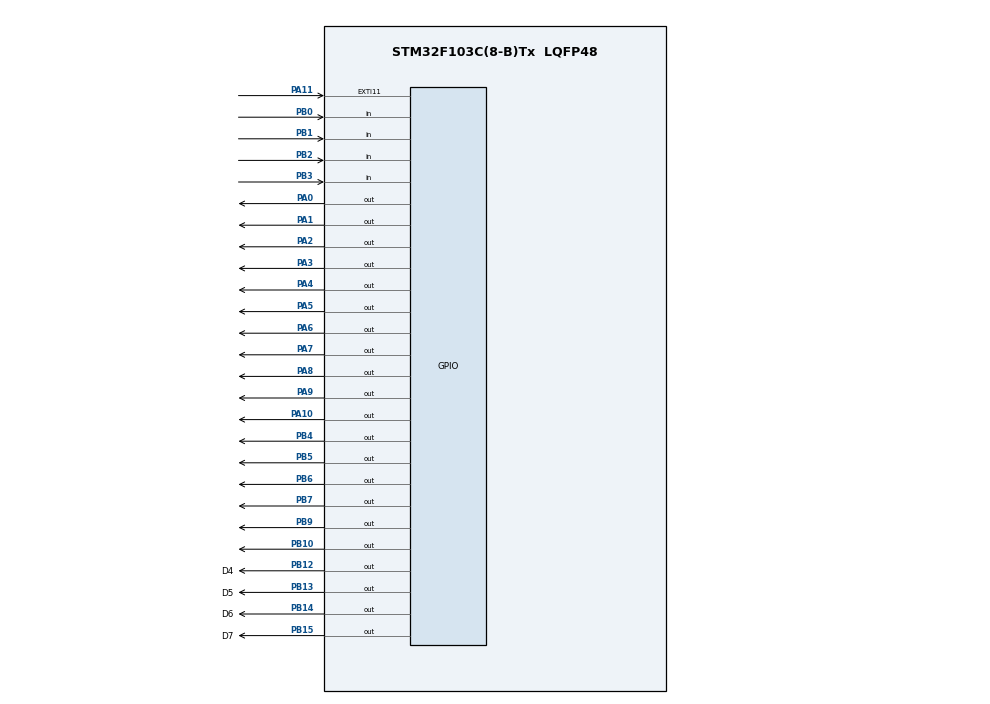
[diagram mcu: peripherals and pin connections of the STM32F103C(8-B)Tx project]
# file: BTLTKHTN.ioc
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Mcu.Family=STM32F1
Mcu.Name=STM32F103C(8-B)Tx
Mcu.Package=LQFP48
NVIC.EXTI15_10_IRQn=true\:0\:0\:false\:false\:true\:true\:true\:true
NVIC.PriorityGroup=NVIC_PRIORITYGROUP_4
PA0-WKUP.GPIO_Speed=GPIO_SPEED_FREQ_HIGH
PA0-WKUP.Signal=GPIO_Output
PA1.GPIO_Speed=GPIO_SPEED_FREQ_HIGH
PA1.Signal=GPIO_Output
PA10.GPIO_Speed=GPIO_SPEED_FREQ_LOW
PA10.Signal=GPIO_Output
PA11.GPIO_ModeDefaultEXTI=GPIO_MODE_IT_FALLING
PA11.GPIO_PuPd=GPIO_PULLUP
PA11.Signal=GPXTI11
PA13.Mode=Serial_Wire
PA13.Signal=SYS_JTMS-SWDIO
PA14.Mode=Serial_Wire
PA14.Signal=SYS_JTCK-SWCLK
PA2.GPIO_Speed=GPIO_SPEED_FREQ_HIGH
PA2.Signal=GPIO_Output
PA3.GPIO_Speed=GPIO_SPEED_FREQ_HIGH
PA3.Signal=GPIO_Output
PA4.GPIO_Speed=GPIO_SPEED_FREQ_HIGH
PA4.Signal=GPIO_Output
PA5.GPIO_Speed=GPIO_SPEED_FREQ_HIGH
PA5.Signal=GPIO_Output
PA6.GPIO_Speed=GPIO_SPEED_FREQ_HIGH
PA6.Signal=GPIO_Output
PA7.GPIO_Speed=GPIO_SPEED_FREQ_HIGH
PA7.Signal=GPIO_Output
PA8.GPIO_Speed=GPIO_SPEED_FREQ_HIGH
PA8.Signal=GPIO_Output
PA9.GPIO_Speed=GPIO_SPEED_FREQ_HIGH
PA9.Signal=GPIO_Output
PB0.GPIO_PuPd=GPIO_PULLUP
PB0.Signal=GPIO_Input
PB1.GPIO_PuPd=GPIO_PULLUP
PB1.Signal=GPIO_Input
PB10.GPIO_Speed=GPIO_SPEED_FREQ_LOW
PB10.Signal=GPIO_Output
PB12.GPIO_Label=D4
PB12.Signal=GPIO_Output
PB13.GPIO_Label=D5
PB13.Signal=GPIO_Output
PB14.GPIO_Label=D6
PB14.Signal=GPIO_Output
PB15.GPIO_Label=D7
PB15.Signal=GPIO_Output
PB2.GPIO_PuPd=GPIO_PULLUP
PB2.Signal=GPIO_Input
PB3.GPIO_PuPd=GPIO_PULLUP
PB3.Signal=GPIO_Input
PB4.GPIO_Speed=GPIO_SPEED_FREQ_LOW
PB4.Signal=GPIO_Output
PB5.GPIO_Speed=GPIO_SPEED_FREQ_LOW
PB5.Signal=GPIO_Output
PB6.GPIO_Speed=GPIO_SPEED_FREQ_LOW
PB6.Signal=GPIO_Output
PB7.GPIO_Speed=GPIO_SPEED_FREQ_LOW
PB7.Signal=GPIO_Output
PB9.GPIO_Speed=GPIO_SPEED_FREQ_LOW
PB9.Signal=GPIO_Output
ProjectManager.HeapSize=0x200
ProjectManager.StackSize=0x400
ProjectManager.TargetToolchain=MDK-ARM V5.32
RCC.APB1Freq_Value=8000000
RCC.APB2Freq_Value=8000000
board=custom

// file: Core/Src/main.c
/* USER CODE BEGIN Header */
/**
  ******************************************************************************
  * @file           : main.c
  * @brief          : Main program body
  ******************************************************************************
  * @attention
  *
  * Copyright (c) 2023 STMicroelectronics.
  * All rights reserved.
  *
  * This software is licensed under terms that can be found in the LICENSE file
  * in the root directory of this software component.
  * If no LICENSE file comes with this software, it is provided AS-IS.
  *
  ******************************************************************************
  */
/* USER CODE END Header */
#include "main.h"
#include "KEY4x4.h"
#include "LCD16x2.h"

/* USER CODE BEGIN PV */
int t;
int t1 ,t2 ;
void shiftOut(int data){
	for(int i= 0;i<8;i++){
		HAL_GPIO_WritePin (GPIOA,GPIO_PIN_6, data << i & 0x80);
		HAL_GPIO_WritePin (GPIOA,GPIO_PIN_7,GPIO_PIN_SET);
		HAL_GPIO_WritePin (GPIOA,GPIO_PIN_7,GPIO_PIN_RESET);
	}
}
/* USER CODE END PV */

void SystemClock_Config(void);
static void MX_GPIO_Init(void);

/* USER CODE BEGIN 0 */
void hienthi(int so1, int so2){
	unsigned char ma7doan[] =
{// 0 1 2 3 4 5 6 7 8 9 A B C D E F -
0xC0,0xF9,0xA4,0xB0,0x99,0x92,0x82,0xF8,0x80,0x90,0x88,0x83,0xC6,0xA1,0x86,0x8E,0x8F
};
 shiftOut(ma7doan[so2 % 10]);
 shiftOut(ma7doan[so2 / 10]);
 shiftOut(ma7doan[so1 % 10]);
 shiftOut(ma7doan[so1 / 10]);
 HAL_GPIO_WritePin (GPIOA, GPIO_PIN_8,GPIO_PIN_SET);
 HAL_GPIO_WritePin (GPIOA, GPIO_PIN_8,GPIO_PIN_RESET);
}

void shiftCot( int data1){
	for ( int i =0; i<8 ;i++){
	  HAL_GPIO_WritePin (GPIOB, GPIO_PIN_1,data1 << i & 0x80);
		HAL_GPIO_WritePin (GPIOB, GPIO_PIN_0,GPIO_PIN_SET);
		HAL_GPIO_WritePin (GPIOB, GPIO_PIN_0,GPIO_PIN_RESET);
	}
}
void shiftHang( int data2){
	for ( int i =0; i<8 ;i++){
	  HAL_GPIO_WritePin (GPIOB, GPIO_PIN_4,data2 << i & 0x80);
		HAL_GPIO_WritePin (GPIOB, GPIO_PIN_3,GPIO_PIN_SET);
		HAL_GPIO_WritePin (GPIOB, GPIO_PIN_3,GPIO_PIN_RESET);
	}
}
char nguoi[]={0xf6,0xec,0xd9,0x03,0x03,0xd9,0xec,0xf6};
void hienthinguoi(int so){
     if(so==0){
	   for (so=0;so<8;so++){
			HAL_GPIO_WritePin (GPIOB, GPIO_PIN_2,GPIO_PIN_SET);
       shiftHang(nguoi[so]);
			 shiftCot(0x01 << so);
			 HAL_Delay(1);
			HAL_GPIO_WritePin (GPIOB, GPIO_PIN_2,GPIO_PIN_RESET);
		}
	}

	}
int DD,DX,DV;
/* USER CODE END 0 */
int getValueFromKeypad() {
  int value = 0;
  char key = KEY4x4_GetKey();
  while (key != '=') {
    if (key >= '0' && key <= '9') {
      value = value * 10 + (key - '0');
      LCD_PutChar(key);
    }
    key = KEY4x4_GetKey();
  }
  return value;
}
void checkInput() {
  do {
    LCD_Clear();
    LCD_WriteString("Nhap den do:");
    DD = getValueFromKeypad();
    LCD_Clear();
    LCD_WriteString("Nhap den xanh:");
    DX = getValueFromKeypad();
    LCD_Clear();
    LCD_WriteString("Nhap den vang:");
    DV = getValueFromKeypad();
  } while (DD != DX + DV);
}
void displayValues() {
  LCD_Clear();
  LCD_WriteString("Bat dau chay");
  LCD_Gotoxy(1,0);
	LCD_WriteString("Chuong trinh");
}
int main(void)
{

  /* MCU Configuration--------------------------------------------------------*/

  /* Reset of all peripherals, Initializes the Flash interface and the Systick. */
  HAL_Init();

  /* Configure the system clock */
  SystemClock_Config();

  /* Initialize all configured peripherals */
  MX_GPIO_Init();
  /* USER CODE BEGIN 2 */
  LCD_Init();
  HAL_Delay(500);
  checkInput();
  displayValues();
  /* USER CODE END 2 */

  /* Infinite loop */
  while (1)
  {
    if(HAL_GPIO_ReadPin(GPIOA,GPIO_PIN_10)== SET){
		if(t>=0 && t < DX){
			// X1 D2 ON
			HAL_GPIO_WritePin (GPIOA, GPIO_PIN_0,GPIO_PIN_SET);
			HAL_GPIO_WritePin (GPIOA, GPIO_PIN_1,GPIO_PIN_RESET);
			HAL_GPIO_WritePin (GPIOA, GPIO_PIN_2,GPIO_PIN_RESET);
			HAL_GPIO_WritePin (GPIOA, GPIO_PIN_3,GPIO_PIN_RESET);
			HAL_GPIO_WritePin (GPIOA, GPIO_PIN_4,GPIO_PIN_RESET);
			HAL_GPIO_WritePin (GPIOA, GPIO_PIN_5,GPIO_PIN_SET);
			HAL_GPIO_WritePin (GPIOA, GPIO_PIN_9,GPIO_PIN_SET);
			t1=DX;
			t2=DD;
			t=t+1;
			t1=t1-t;
			t2=t2-t;
			hienthi(t1,t2);
			hienthinguoi(0);
      HAL_Delay(1000);
		}
		if(t>=DX && t < DD){
			HAL_GPIO_WritePin (GPIOA, GPIO_PIN_0,GPIO_PIN_RESET);
			HAL_GPIO_WritePin (GPIOA, GPIO_PIN_1,GPIO_PIN_SET);
			HAL_GPIO_WritePin (GPIOA, GPIO_PIN_2,GPIO_PIN_RESET);
			HAL_GPIO_WritePin (GPIOA, GPIO_PIN_3,GPIO_PIN_RESET);
			HAL_GPIO_WritePin (GPIOA, GPIO_PIN_4,GPIO_PIN_RESET);
			HAL_GPIO_WritePin (GPIOA, GPIO_PIN_5,GPIO_PIN_SET);
			HAL_GPIO_WritePin (GPIOA, GPIO_PIN_9,GPIO_PIN_SET);
			t1=DV;
			t2=DV;
			t=t+1;
			t1=t1-t+DX;
			t2=t2-t+DX;
			hienthi(t1,t2);
			hienthinguoi(0);
			HAL_Delay(1000);
		}
		if(t>=DD && t < (DD+DX)){
			HAL_GPIO_WritePin (GPIOA, GPIO_PIN_0,GPIO_PIN_RESET);
			HAL_GPIO_WritePin (GPIOA, GPIO_PIN_1,GPIO_PIN_RESET);
			HAL_GPIO_WritePin (GPIOA, GPIO_PIN_2,GPIO_PIN_SET);
			HAL_GPIO_WritePin (GPIOA, GPIO_PIN_3,GPIO_PIN_SET);
			HAL_GPIO_WritePin (GPIOA, GPIO_PIN_4,GPIO_PIN_RESET);
			HAL_GPIO_WritePin (GPIOA, GPIO_PIN_5,GPIO_PIN_RESET);
			HAL_GPIO_WritePin (GPIOA, GPIO_PIN_9,GPIO_PIN_RESET);
			t1=DD;
			t2=DX;
			t=t+1;
			t1=t1-t+DD;
			t2=t2-t+DD;
			hienthi(t1,t2);
			HAL_Delay(1000);
		}
		if(t >=(DD + DX) && t < (DD + DX + DV)){
			HAL_GPIO_WritePin (GPIOA, GPIO_PIN_0,GPIO_PIN_RESET);
			HAL_GPIO_WritePin (GPIOA, GPIO_PIN_1,GPIO_PIN_RESET);
			HAL_GPIO_WritePin (GPIOA, GPIO_PIN_2,GPIO_PIN_SET);
			HAL_GPIO_WritePin (GPIOA, GPIO_PIN_3,GPIO_PIN_RESET);
			HAL_GPIO_WritePin (GPIOA, GPIO_PIN_4,GPIO_PIN_SET);
			HAL_GPIO_WritePin (GPIOA, GPIO_PIN_5,GPIO_PIN_RESET);
			HAL_GPIO_WritePin (GPIOA, GPIO_PIN_9,GPIO_PIN_RESET);
			t1=DV;
			t2=DV;
			t=t+1;
			t1=t1-t+DX+DD;
			t2=t2-t+DX+DD;
			hienthi(t1,t2);
			HAL_Delay(1000);
		}
		if(t >=(DD + DX + DV))t=0;
	}
		else
		{
			HAL_GPIO_TogglePin (GPIOA, GPIO_PIN_1);
			HAL_GPIO_TogglePin (GPIOA, GPIO_PIN_4);
			HAL_GPIO_WritePin (GPIOA, GPIO_PIN_0,GPIO_PIN_RESET);
			HAL_GPIO_WritePin (GPIOA, GPIO_PIN_2,GPIO_PIN_RESET);
			HAL_GPIO_WritePin (GPIOA, GPIO_PIN_3,GPIO_PIN_RESET);
			HAL_GPIO_WritePin (GPIOA, GPIO_PIN_5,GPIO_PIN_RESET);
			hienthi(0,0);
			HAL_Delay(1000);
			t=0;
		}
  }
}

void SystemClock_Config(void)
{
  RCC_OscInitTypeDef RCC_OscInitStruct = {0};
  RCC_ClkInitTypeDef RCC_ClkInitStruct = {0};

  /** Initializes the RCC Oscillators according to the specified parameters
  * in the RCC_OscInitTypeDef structure.
  */
  RCC_OscInitStruct.OscillatorType = RCC_OSCILLATORTYPE_HSI;
  RCC_OscInitStruct.HSIState = RCC_HSI_ON;
  RCC_OscInitStruct.HSICalibrationValue = RCC_HSICALIBRATION_DEFAULT;
  RCC_OscInitStruct.PLL.PLLState = RCC_PLL_NONE;
  if (HAL_RCC_OscConfig(&RCC_OscInitStruct) != HAL_OK)
  {
    Error_Handler();
  }

  /** Initializes the CPU, AHB and APB buses clocks
  */
  RCC_ClkInitStruct.ClockType = RCC_CLOCKTYPE_HCLK|RCC_CLOCKTYPE_SYSCLK
                              |RCC_CLOCKTYPE_PCLK1|RCC_CLOCKTYPE_PCLK2;
  RCC_ClkInitStruct.SYSCLKSource = RCC_SYSCLKSOURCE_HSI;
  RCC_ClkInitStruct.AHBCLKDivider = RCC_SYSCLK_DIV1;
  RCC_ClkInitStruct.APB1CLKDivider = RCC_HCLK_DIV1;
  RCC_ClkInitStruct.APB2CLKDivider = RCC_HCLK_DIV1;

  if (HAL_RCC_ClockConfig(&RCC_ClkInitStruct, FLASH_LATENCY_0) != HAL_OK)
  {
    Error_Handler();
  }
}

static void MX_GPIO_Init(void)
{
  GPIO_InitTypeDef GPIO_InitStruct = {0};

  /* GPIO Ports Clock Enable */
  __HAL_RCC_GPIOA_CLK_ENABLE();
  __HAL_RCC_GPIOB_CLK_ENABLE();

  /*Configure GPIO pin Output Level */
  HAL_GPIO_WritePin(GPIOA, GPIO_PIN_0|GPIO_PIN_1|GPIO_PIN_2|GPIO_PIN_3
                          |GPIO_PIN_4|GPIO_PIN_5|GPIO_PIN_6|GPIO_PIN_7
                          |GPIO_PIN_8|GPIO_PIN_9|GPIO_PIN_10, GPIO_PIN_RESET);

  /*Configure GPIO pin Output Level */
  HAL_GPIO_WritePin(GPIOB, GPIO_PIN_10|D4_Pin|D5_Pin|D6_Pin
                          |D7_Pin|GPIO_PIN_4|GPIO_PIN_5|GPIO_PIN_6
                          |GPIO_PIN_7|GPIO_PIN_9, GPIO_PIN_RESET);

  /*Configure GPIO pins : PA0 PA1 PA2 PA3
                           PA4 PA5 PA6 PA7
                           PA8 PA9 */
  GPIO_InitStruct.Pin = GPIO_PIN_0|GPIO_PIN_1|GPIO_PIN_2|GPIO_PIN_3
                          |GPIO_PIN_4|GPIO_PIN_5|GPIO_PIN_6|GPIO_PIN_7
                          |GPIO_PIN_8|GPIO_PIN_9;
  GPIO_InitStruct.Mode = GPIO_MODE_OUTPUT_PP;
  GPIO_InitStruct.Pull = GPIO_NOPULL;
  GPIO_InitStruct.Speed = GPIO_SPEED_FREQ_HIGH;
  HAL_GPIO_Init(GPIOA, &GPIO_InitStruct);

  /*Configure GPIO pins : PB0 PB1 PB2 PB3 */
  GPIO_InitStruct.Pin = GPIO_PIN_0|GPIO_PIN_1|GPIO_PIN_2|GPIO_PIN_3;
  GPIO_InitStruct.Mode = GPIO_MODE_INPUT;
  GPIO_InitStruct.Pull = GPIO_PULLUP;
  HAL_GPIO_Init(GPIOB, &GPIO_InitStruct);

  /*Configure GPIO pins : PB10 D4_Pin D5_Pin D6_Pin
                           D7_Pin PB4 PB5 PB6
                           PB7 PB9 */
  GPIO_InitStruct.Pin = GPIO_PIN_10|D4_Pin|D5_Pin|D6_Pin
                          |D7_Pin|GPIO_PIN_4|GPIO_PIN_5|GPIO_PIN_6
                          |GPIO_PIN_7|GPIO_PIN_9;
  GPIO_InitStruct.Mode = GPIO_MODE_OUTPUT_PP;
  GPIO_InitStruct.Pull = GPIO_NOPULL;
  GPIO_InitStruct.Speed = GPIO_SPEED_FREQ_LOW;
  HAL_GPIO_Init(GPIOB, &GPIO_InitStruct);

  /*Configure GPIO pin : PA10 */
  GPIO_InitStruct.Pin = GPIO_PIN_10;
  GPIO_InitStruct.Mode = GPIO_MODE_OUTPUT_PP;
  GPIO_InitStruct.Pull = GPIO_NOPULL;
  GPIO_InitStruct.Speed = GPIO_SPEED_FREQ_LOW;
  HAL_GPIO_Init(GPIOA, &GPIO_InitStruct);

  /*Configure GPIO pin : PA11 */
  GPIO_InitStruct.Pin = GPIO_PIN_11;
  GPIO_InitStruct.Mode = GPIO_MODE_IT_FALLING;
  GPIO_InitStruct.Pull = GPIO_PULLUP;
  HAL_GPIO_Init(GPIOA, &GPIO_InitStruct);

  /* EXTI interrupt init*/
  HAL_NVIC_SetPriority(EXTI15_10_IRQn, 0, 0);
  HAL_NVIC_EnableIRQ(EXTI15_10_IRQn);

}

void Error_Handler(void)
{
  __disable_irq();
  while (1)
  {
  }
}
